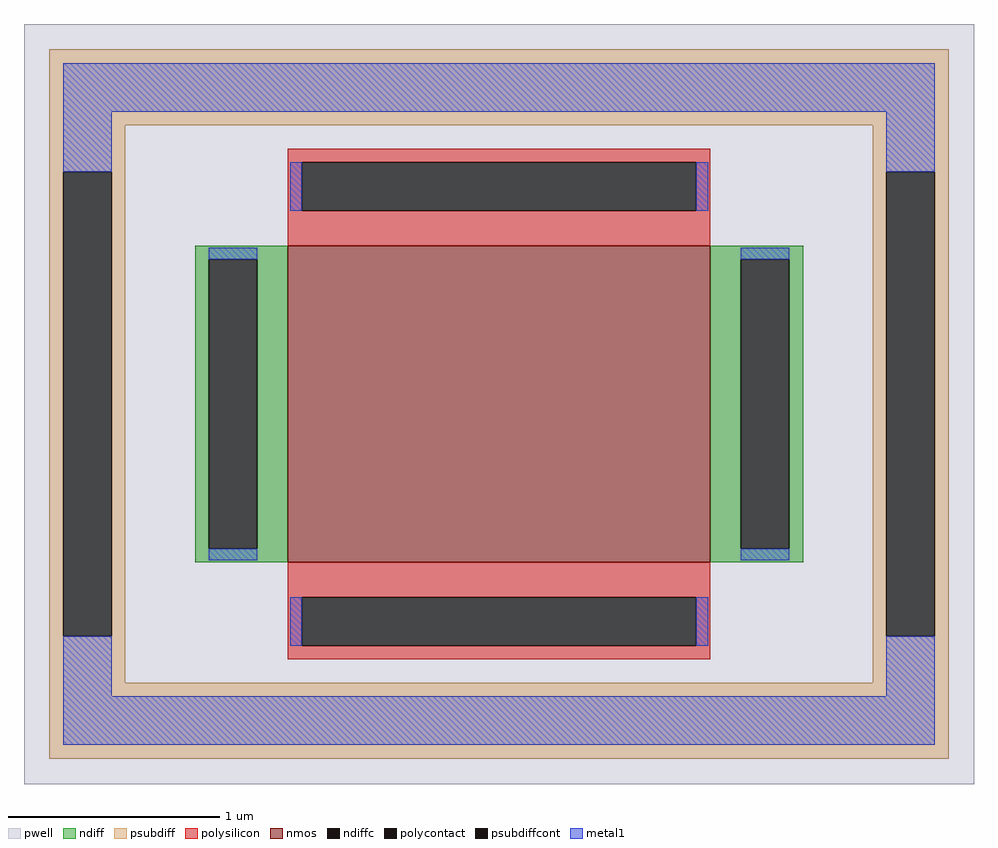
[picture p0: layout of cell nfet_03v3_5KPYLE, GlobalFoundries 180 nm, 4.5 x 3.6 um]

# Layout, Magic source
magic
tech gf180mcuD
magscale 1 10
<< pwell >>
rect -450 -360 450 360
<< nmos >>
rect -200 -150 200 150
<< ndiff >>
rect -288 137 -200 150
rect -288 -137 -275 137
rect -229 -137 -200 137
rect -288 -150 -200 -137
rect 200 137 288 150
rect 200 -137 229 137
rect 275 -137 288 137
rect 200 -150 288 -137
<< ndiffc >>
rect -275 -137 -229 137
rect 229 -137 275 137
<< psubdiff >>
rect -426 264 426 336
rect -426 220 -354 264
rect -426 -220 -413 220
rect -367 -220 -354 220
rect 354 220 426 264
rect -426 -264 -354 -220
rect 354 -220 367 220
rect 413 -220 426 220
rect 354 -264 426 -220
rect -426 -336 426 -264
<< psubdiffcont >>
rect -413 -220 -367 220
rect 367 -220 413 220
<< polysilicon >>
rect -200 229 200 242
rect -200 183 -187 229
rect 187 183 200 229
rect -200 150 200 183
rect -200 -183 200 -150
rect -200 -229 -187 -183
rect 187 -229 200 -183
rect -200 -242 200 -229
<< polycontact >>
rect -187 183 187 229
rect -187 -229 187 -183
<< metal1 >>
rect -413 277 413 323
rect -413 220 -367 277
rect -198 183 -187 229
rect 187 183 198 229
rect 367 220 413 277
rect -275 137 -229 148
rect -275 -148 -229 -137
rect 229 137 275 148
rect 229 -148 275 -137
rect -413 -277 -367 -220
rect -198 -229 -187 -183
rect 187 -229 198 -183
rect 367 -277 413 -220
rect -413 -323 413 -277
<< properties >>
string FIXED_BBOX -390 -300 390 300
string gencell nfet_03v3
string library gf180mcu
string parameters w 1.5 l 2.0 m 1 nf 1 diffcov 100 polycov 100 guard 1 glc 1 grc 1 gtc 0 gbc 0 tbcov 100 rlcov 100 topc 1 botc 1 poverlap 0 doverlap 1 lmin 0.28 wmin 0.22 class mosfet full_metal 1 compatible {nfet_03v3 nfet_06v0 nfet_06v0_nvt}
<< end >>
